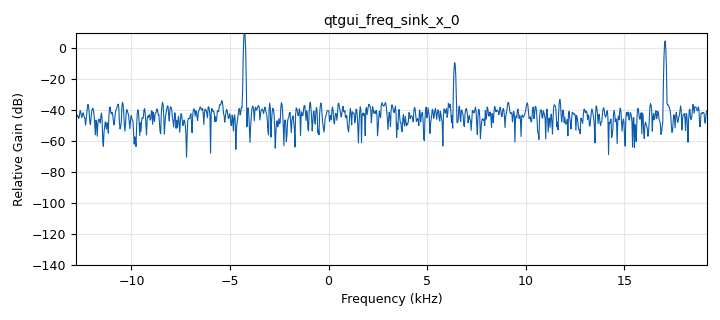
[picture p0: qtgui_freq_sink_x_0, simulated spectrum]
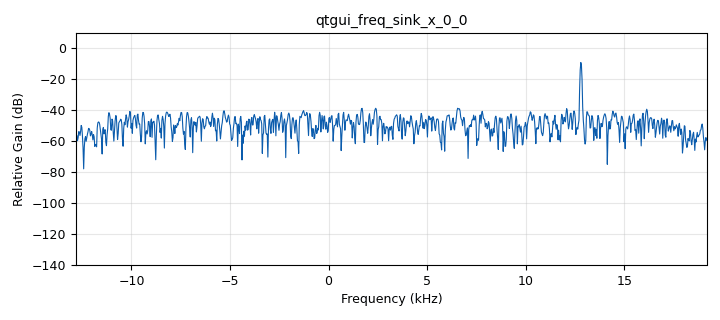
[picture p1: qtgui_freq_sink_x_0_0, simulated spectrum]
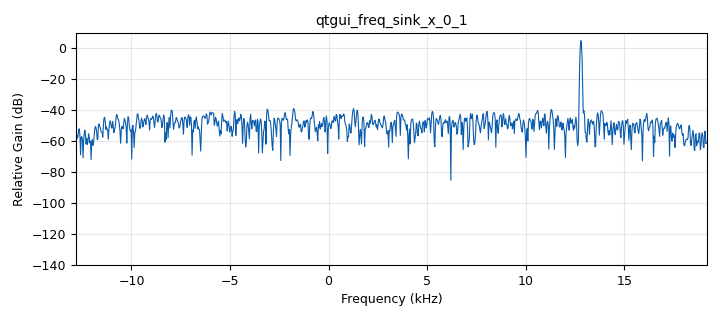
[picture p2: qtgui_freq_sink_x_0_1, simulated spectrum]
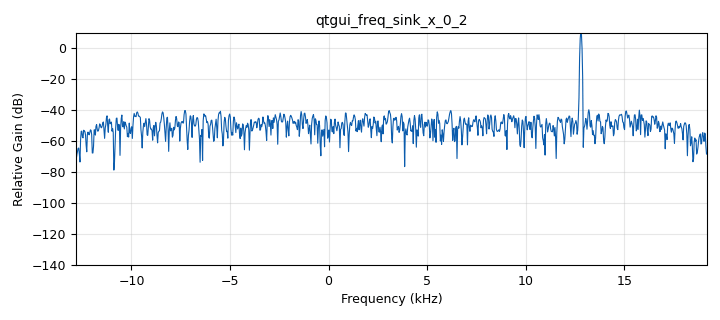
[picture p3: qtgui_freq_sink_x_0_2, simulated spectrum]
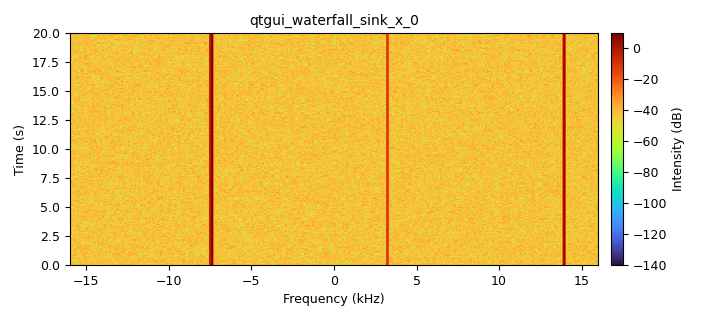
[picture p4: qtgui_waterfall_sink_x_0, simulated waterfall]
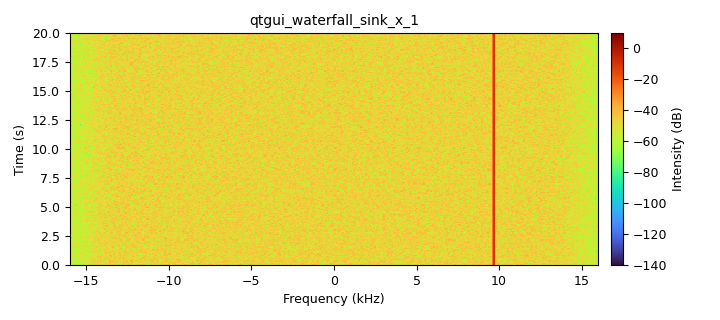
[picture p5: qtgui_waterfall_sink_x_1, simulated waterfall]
options:
  parameters:
    author: vivelpanel
    generate_options: qt_gui
    id: demo
    output_language: python
    title: PFB Demonstration
  states: {}

blocks:
- name: center_freq
  id: variable
  parameters:
    value: '3200'
  states: {}
- name: samp_rate
  id: variable
  parameters:
    value: '32000'
  states: {}
- name: analog_fastnoise_source_x_0
  id: analog_fastnoise_source_x
  parameters:
    amp: '.5'
    noise_type: analog.GR_GAUSSIAN
    samples: '8192'
    seed: '0'
    type: complex
  states: {}
- name: analog_sig_source_x_0
  id: analog_sig_source_x
  parameters:
    amp: '10'
    freq: center_freq - (samp_rate / 3)
    offset: '0'
    phase: '0'
    samp_rate: samp_rate
    type: complex
    waveform: analog.GR_COS_WAVE
  states: {}
- name: analog_sig_source_x_1
  id: analog_sig_source_x
  parameters:
    amp: '1'
    freq: center_freq
    offset: '0'
    phase: '0'
    samp_rate: samp_rate
    type: complex
    waveform: analog.GR_COS_WAVE
  states: {}
- name: analog_sig_source_x_2
  id: analog_sig_source_x
  parameters:
    amp: '5'
    freq: center_freq + (samp_rate / 3)
    offset: '0'
    phase: '0'
    samp_rate: samp_rate
    type: complex
    waveform: analog.GR_COS_WAVE
  states: {}
- name: blocks_add_xx_0
  id: blocks_add_xx
  parameters:
    num_inputs: '4'
    type: complex
  states: {}
- name: blocks_stream_to_vector_0
  id: blocks_stream_to_vector
  parameters:
    num_items: '1024'
    type: complex
  states: {}
- name: blocks_stream_to_vector_0_0
  id: blocks_stream_to_vector
  parameters:
    num_items: '1024'
    type: complex
  states: {}
- name: blocks_stream_to_vector_0_1
  id: blocks_stream_to_vector
  parameters:
    num_items: '1024'
    type: complex
  states: {}
- name: blocks_stream_to_vector_0_2
  id: blocks_stream_to_vector
  parameters:
    num_items: '1024'
    type: complex
  states: {}
- name: blocks_stream_to_vector_0_3
  id: blocks_stream_to_vector
  parameters:
    num_items: '1024'
    type: complex
  states: {}
- name: blocks_stream_to_vector_0_4
  id: blocks_stream_to_vector
  parameters:
    num_items: '1024'
    type: complex
  states: {}
- name: blocks_stream_to_vector_0_5
  id: blocks_stream_to_vector
  parameters:
    num_items: '1024'
    type: complex
  states: {}
- name: blocks_stream_to_vector_0_6
  id: blocks_stream_to_vector
  parameters:
    num_items: '1024'
    type: complex
  states: {}
- name: blocks_stream_to_vector_0_7
  id: blocks_stream_to_vector
  parameters:
    num_items: '1024'
    type: complex
  states: {}
- name: blocks_stream_to_vector_0_8
  id: blocks_stream_to_vector
  parameters:
    num_items: '1024'
    type: complex
  states: {}
- name: epy_block_0
  id: epy_block
  parameters:
    _source_code: |
      """
      Embedded Python Blocks:

      Each time this file is saved, GRC will instantiate the first class it finds
      to get ports and parameters of your block. The arguments to __init__  will
      be the parameters. All of them are required to have default values!
      """

      import numpy as np
      from gnuradio import gr
      import matplotlib.pyplot as plt


      class blk(gr.basic_block):  # other base classes are basic_block, decim_block, interp_block
          """Embedded Python Block example - a simple multiply const"""

          def __init__(self):  # only default arguments here
              """arguments to this function show up as parameters in GRC"""
              gr.sync_block.__init__(
                  self,
                  name='Make Spectrogram (10 inputs)',   # will show up in GRC
                  in_sig=[(np.complex64, 1024), (np.complex64, 1024), (np.complex64, 1024), (np.complex64, 1024), (np.complex64, 1024), (np.complex64, 1024), (np.complex64, 1024), (np.complex64, 1024), (np.complex64, 1024), (np.complex64, 1024)],
                  out_sig=None
              )
              # if an attribute with the same name as a parameter is found,
              # a callback is registered (properties work, too).

          def work(self, input_items, output_items):
              """example: multiply with constant"""
              data = np.vstack([vec**2 for vec in input_items])
              plt.imshow(data)        
              output_items[0][:] = input_items[0] * self.example_param
              return len(output_items[0])
  states: {}
- name: gr_digital_rf_digital_rf_sink_0
  id: gr_digital_rf_digital_rf_sink
  parameters:
    center_freqs: '[]'
    channel0: ch0
    channel1: ch1
    channel2: ch2
    checksum: 'False'
    compression_level: '0'
    debug: 'False'
    file_cadence_ms: '1000'
    ignore_tags: 'False'
    input: fc32
    is_continuous: 'True'
    marching_periods: 'True'
    metadata: '{}'
    min_chunksize: '0'
    nchan: '3'
    sample_rate_denominator: '1'
    sample_rate_numerator: int(samp_rate)
    start: ''
    stop_on_skipped: 'False'
    stop_on_time_tag: 'False'
    subdir_cadence_s: '3600'
    top_level_dir: ''
    uuid: ''
    vlen: '1'
  states: {}
- name: note_0
  id: note
  parameters:
    note: import filter firdes (taps)
  states: {}
- name: pfb_channelizer_ccf_0
  id: pfb_channelizer_ccf
  parameters:
    atten: '100'
    bus_conns: '[[0,],]'
    ch_map: '[]'
    nchans: '3'
    osr: '1.0'
  states: {}
- name: pfb_channelizer_ccf_1
  id: pfb_channelizer_ccf
  parameters:
    atten: '100'
    bus_conns: '[[0,],]'
    ch_map: '[]'
    nchans: '10'
    osr: '1.0'
  states: {}
- name: qtgui_freq_sink_x_0
  id: qtgui_freq_sink_x
  parameters:
    bw: samp_rate
    fc: center_freq
    fftsize: '1024'
    gui_hint: (0,0, 1, 2)
    type: complex
  states: {}
- name: qtgui_freq_sink_x_0_0
  id: qtgui_freq_sink_x
  parameters:
    bw: samp_rate
    fc: center_freq
    fftsize: '1024'
    gui_hint: (3,0)
    type: complex
  states: {}
- name: qtgui_freq_sink_x_0_1
  id: qtgui_freq_sink_x
  parameters:
    bw: samp_rate
    fc: center_freq
    fftsize: '1024'
    gui_hint: (4,0)
    type: complex
  states: {}
- name: qtgui_freq_sink_x_0_2
  id: qtgui_freq_sink_x
  parameters:
    bw: samp_rate
    fc: center_freq
    fftsize: '1024'
    gui_hint: (5,0)
    type: complex
  states: {}
- name: qtgui_waterfall_sink_x_0
  id: qtgui_waterfall_sink_x
  parameters:
    bw: samp_rate
    fc: '0'
    fftsize: '1024'
    gui_hint: (1,0, 1, 2)
    type: complex
  states: {}
- name: qtgui_waterfall_sink_x_1
  id: qtgui_waterfall_sink_x
  parameters:
    bw: samp_rate
    fc: '0'
    fftsize: '1024'
    gui_hint: (3,1)
    type: complex
  states: {}
- name: qtgui_waterfall_sink_x_2
  id: qtgui_waterfall_sink_x
  parameters:
    bw: samp_rate
    fc: '0'
    fftsize: '1024'
    gui_hint: (4,1)
    type: complex
  states: {}
- name: qtgui_waterfall_sink_x_3
  id: qtgui_waterfall_sink_x
  parameters:
    bw: samp_rate
    fc: '0'
    fftsize: '1024'
    gui_hint: (5,1)
    type: complex
  states: {}

connections:
- [analog_fastnoise_source_x_0, '0', blocks_add_xx_0, '3']
- [analog_sig_source_x_0, '0', blocks_add_xx_0, '0']
- [analog_sig_source_x_1, '0', blocks_add_xx_0, '1']
- [analog_sig_source_x_2, '0', blocks_add_xx_0, '2']
- [blocks_add_xx_0, '0', pfb_channelizer_ccf_0, '0']
- [blocks_add_xx_0, '0', pfb_channelizer_ccf_1, '0']
- [blocks_add_xx_0, '0', qtgui_freq_sink_x_0, '0']
- [blocks_add_xx_0, '0', qtgui_waterfall_sink_x_0, '0']
- [blocks_stream_to_vector_0, '0', epy_block_0, '0']
- [blocks_stream_to_vector_0_0, '0', epy_block_0, '9']
- [blocks_stream_to_vector_0_1, '0', epy_block_0, '8']
- [blocks_stream_to_vector_0_2, '0', epy_block_0, '7']
- [blocks_stream_to_vector_0_3, '0', epy_block_0, '6']
- [blocks_stream_to_vector_0_4, '0', epy_block_0, '5']
- [blocks_stream_to_vector_0_5, '0', epy_block_0, '4']
- [blocks_stream_to_vector_0_6, '0', epy_block_0, '3']
- [blocks_stream_to_vector_0_7, '0', epy_block_0, '2']
- [blocks_stream_to_vector_0_8, '0', epy_block_0, '1']
- [pfb_channelizer_ccf_0, '0', gr_digital_rf_digital_rf_sink_0, '0']
- [pfb_channelizer_ccf_0, '0', qtgui_freq_sink_x_0_0, '0']
- [pfb_channelizer_ccf_0, '0', qtgui_waterfall_sink_x_1, '0']
- [pfb_channelizer_ccf_0, '1', gr_digital_rf_digital_rf_sink_0, '1']
- [pfb_channelizer_ccf_0, '1', qtgui_freq_sink_x_0_1, '0']
- [pfb_channelizer_ccf_0, '1', qtgui_waterfall_sink_x_2, '0']
- [pfb_channelizer_ccf_0, '2', gr_digital_rf_digital_rf_sink_0, '2']
- [pfb_channelizer_ccf_0, '2', qtgui_freq_sink_x_0_2, '0']
- [pfb_channelizer_ccf_0, '2', qtgui_waterfall_sink_x_3, '0']
- [pfb_channelizer_ccf_1, '0', blocks_stream_to_vector_0, '0']
- [pfb_channelizer_ccf_1, '1', blocks_stream_to_vector_0_8, '0']
- [pfb_channelizer_ccf_1, '2', blocks_stream_to_vector_0_7, '0']
- [pfb_channelizer_ccf_1, '3', blocks_stream_to_vector_0_6, '0']
- [pfb_channelizer_ccf_1, '4', blocks_stream_to_vector_0_5, '0']
- [pfb_channelizer_ccf_1, '5', blocks_stream_to_vector_0_4, '0']
- [pfb_channelizer_ccf_1, '6', blocks_stream_to_vector_0_3, '0']
- [pfb_channelizer_ccf_1, '7', blocks_stream_to_vector_0_2, '0']
- [pfb_channelizer_ccf_1, '8', blocks_stream_to_vector_0_1, '0']
- [pfb_channelizer_ccf_1, '9', blocks_stream_to_vector_0_0, '0']

metadata:
  file_format: 1
